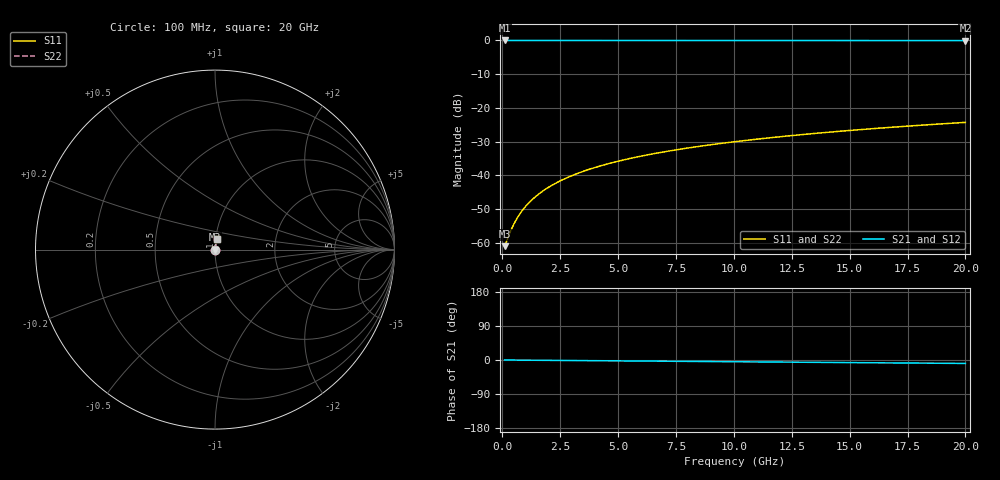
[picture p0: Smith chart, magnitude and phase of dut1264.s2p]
! Touchstone file exported from HFSS 2026.1.0
!  File:  C:/ffzhzh/LocalFiles/Ansys_Project_Files/temp_train_TSV_1264_1783193957_22436.aedt
!  Generated:  03:41:37 AM Jul  5, 2026
!  Design:  TSV
!  Project:  temp_train_TSV_1264_1783193957_22436
! Variables:
!  h_bsmrdl = 2um
!  h_ox = 20um
!  h_rdl = 5um
!  h_sub = 88.04um
!  h_tmrdl = 5um
!  h_tsv = 88.04um
!  h_via = 3um
!  l_bsmrdl = 300um
!  l_sub = 407.12um
!  l_tmrdl = 200um
!  m_sub = 200um
!  pitch = 26.74um
!  r_tsv = 3.56um
!  s_tmrdl = 10um
!  w_bsmrdl = 18um
!  w_sub = 500um
!  w_tmrdl = 12um
!  x_tsv_center1 = 206um
!  x_tsv_center2 = 524um
!  x_tsv_center3 = 736um
!  x_tsv_center4 = 1054um
!  x_tsv_center5 = 1266um
!  x_tsv_center6 = 1584um
# GHz S MA R 50.000000
! Terminal data exported
! Port[1] = TSV1_1_T1
! Port[2] = TSV1_1_T2
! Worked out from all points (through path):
!   200 points, 100 MHz to 20 GHz, reference 50 ohm
!   highest |S21| = -0.01 dB at 100 MHz (marker M1); lowest = 0.0 dB at 20 GHz (marker M2)
!   group delay of S21, straight-line fit = 1.26 ps
!   lowest |S11| = -61.0 dB at 100 MHz (marker M3), VSWR 1.00, Z = 50.1 + j0.0347 ohm
!   |S11| at or under -10 dB: start of sweep to end of sweep
!   |S22| runs from -61.0 to -24.3 dB; largest |S21 - S12| = 4.6e-15
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0.1  0.0008902 22.9  0.9992 -0.0  0.9992 -0.0  0.0008902 22.9
! Gamma 0 0 0 0
! Port Impedance 50 0 50 0
0.4  0.001603 57.5  0.9991 -0.2  0.9991 -0.2  0.001603 57.5
0.5  0.001894 62.5  0.9991 -0.2  0.9991 -0.2  0.001894 62.5
0.6  0.002194 66.1  0.9991 -0.3  0.9991 -0.3  0.002194 66.1
0.7  0.0025 68.9  0.9991 -0.3  0.9991 -0.3  0.0025 68.9
0.9  0.003124 72.8  0.9991 -0.4  0.9991 -0.4  0.003124 72.8
1.1  0.003759 75.3  0.9991 -0.5  0.9991 -0.5  0.003759 75.3
1.3  0.004399 77.1  0.9991 -0.6  0.9991 -0.6  0.004399 77.1
1.7  0.005686 79.3  0.999 -0.8  0.999 -0.8  0.005686 79.3
2.2  0.0073 80.8  0.9989 -1.0  0.9989 -1.0  0.0073 80.8
2.8  0.00923 81.7  0.9988 -1.3  0.9988 -1.3  0.00923 81.7
3.5  0.01146 82.2  0.9987 -1.6  0.9987 -1.6  0.01146 82.2
4.2  0.01368 82.4  0.9986 -2.0  0.9986 -2.0  0.01368 82.4
5  0.01618 82.4  0.9984 -2.3  0.9984 -2.3  0.01618 82.4
5.9  0.01897 82.3  0.9982 -2.7  0.9982 -2.7  0.01897 82.3
6.8  0.02173 82.1  0.998 -3.1  0.998 -3.1  0.02173 82.1
8.3  0.02629 81.7  0.9976 -3.8  0.9976 -3.8  0.02629 81.7
10.1  0.0317 81.3  0.9972 -4.6  0.9972 -4.6  0.0317 81.3
11.7  0.03647 80.8  0.9969 -5.3  0.9969 -5.3  0.03647 80.8
13.4  0.04152 80.2  0.9965 -6.1  0.9965 -6.1  0.04152 80.2
16.7  0.05127 79.1  0.9957 -7.6  0.9957 -7.6  0.05127 79.1
20  0.06094 77.9  0.9949 -9.1  0.9949 -9.1  0.06094 77.9
